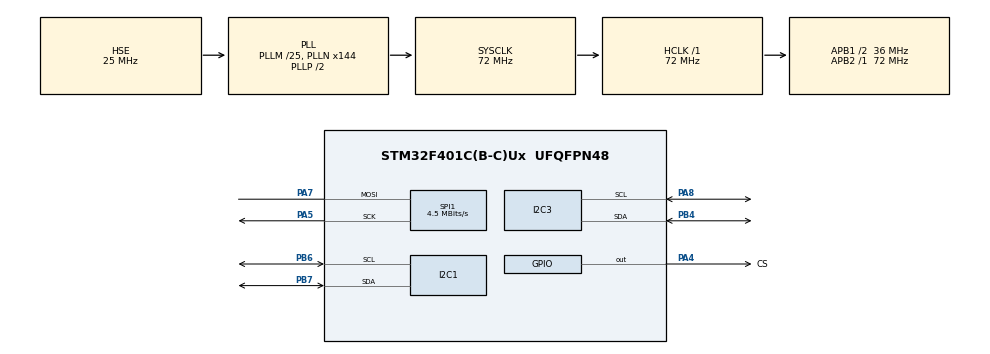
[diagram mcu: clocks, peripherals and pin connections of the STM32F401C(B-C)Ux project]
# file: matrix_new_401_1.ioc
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Mcu.Family=STM32F4
Mcu.Name=STM32F401C(B-C)Ux
Mcu.Package=UFQFPN48
NVIC.PriorityGroup=NVIC_PRIORITYGROUP_4
NVIC.TIM2_IRQn=true\:0\:0\:false\:false\:true\:true\:true\:true
PA13.Mode=Serial_Wire
PA13.Signal=SYS_JTMS-SWDIO
PA14.Mode=Serial_Wire
PA14.Signal=SYS_JTCK-SWCLK
PA4.GPIO_Label=CS
PA4.GPIO_Speed=GPIO_SPEED_FREQ_MEDIUM
PA4.Signal=GPIO_Output
PA5.GPIO_Speed=GPIO_SPEED_FREQ_LOW
PA5.Mode=Simplex_Bidirectional_Master
PA5.Signal=SPI1_SCK
PA7.GPIO_Speed=GPIO_SPEED_FREQ_LOW
PA7.Mode=Simplex_Bidirectional_Master
PA7.Signal=SPI1_MOSI
PA8.Mode=I2C
PA8.Signal=I2C3_SCL
PB4.Mode=I2C
PB4.Signal=I2C3_SDA
PB6.Mode=I2C
PB6.Signal=I2C1_SCL
PB7.Mode=I2C
PB7.Signal=I2C1_SDA
PH0\ -\ OSC_IN.Mode=HSE-External-Oscillator
PH0\ -\ OSC_IN.Signal=RCC_OSC_IN
PH1\ -\ OSC_OUT.Mode=HSE-External-Oscillator
PH1\ -\ OSC_OUT.Signal=RCC_OSC_OUT
ProjectManager.HeapSize=0x200
ProjectManager.StackSize=0x400
ProjectManager.TargetToolchain=STM32CubeIDE
RCC.48MHZClocksFreq_Value=36000000
RCC.AHBFreq_Value=72000000
RCC.APB1CLKDivider=RCC_HCLK_DIV2
RCC.APB1Freq_Value=36000000
RCC.APB1TimFreq_Value=72000000
RCC.APB2Freq_Value=72000000
RCC.APB2TimFreq_Value=72000000
RCC.CortexFreq_Value=72000000
RCC.HCLKFreq_Value=72000000
RCC.HSE_VALUE=25000000
RCC.HSI_VALUE=16000000
RCC.LSE_VALUE=32768
RCC.PLLM=25
RCC.PLLN=144
RCC.PLLSourceVirtual=RCC_PLLSOURCE_HSE
RCC.SYSCLKFreq_VALUE=72000000
RCC.SYSCLKSource=RCC_SYSCLKSOURCE_PLLCLK
RCC.VCOOutputFreq_Value=144000000
SPI1.BaudRatePrescaler=SPI_BAUDRATEPRESCALER_16
SPI1.CalculateBaudRate=4.5 MBits/s
SPI1.DataSize=SPI_DATASIZE_8BIT
SPI1.Direction=SPI_DIRECTION_1LINE
SPI1.Mode=SPI_MODE_MASTER
SPI1.VirtualType=VM_MASTER
TIM2.Period=100
TIM2.Prescaler=15999
VP_TIM2_VS_ClockSourceINT.Mode=Internal
board=custom

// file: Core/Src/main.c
/* USER CODE BEGIN Header */
/**
 ******************************************************************************
 * @file           : main.c
 * @brief          : Main program body
 ******************************************************************************
 * @attention
 *
 * Copyright (c) 2025 STMicroelectronics.
 * All rights reserved.
 *
 * This software is licensed under terms that can be found in the LICENSE file
 * in the root directory of this software component.
 * If no LICENSE file comes with this software, it is provided AS-IS.
 *
 ******************************************************************************
 */
/* USER CODE END Header */
#include "main.h"

/* USER CODE BEGIN Includes */
#include <stdbool.h>
/* USER CODE END Includes */

I2C_HandleTypeDef hi2c1;
I2C_HandleTypeDef hi2c3;

SPI_HandleTypeDef hspi1;

TIM_HandleTypeDef htim2;

/* USER CODE BEGIN PV */
#define cs_reset() HAL_GPIO_WritePin(CS_GPIO_Port, CS_Pin, GPIO_PIN_RESET)
#define cs_set() HAL_GPIO_WritePin(CS_GPIO_Port, CS_Pin, GPIO_PIN_SET)
#define cs_strob() cs_reset();cs_set()

#define data_reset() HAL_GPIO_WritePin(GPIOA, GPIO_PIN_4, GPIO_PIN_RESET)
#define data_set() HAL_GPIO_WritePin(GPIOA, GPIO_PIN_4, GPIO_PIN_SET)
#define data_strob() data_reset();data_set()

#define clock_reset() HAL_GPIO_WritePin(GPIOA, GPIO_PIN_2, GPIO_PIN_RESET)
#define clock_set() HAL_GPIO_WritePin(GPIOA, GPIO_PIN_2, GPIO_PIN_SET)
#define clock_strob() clock_reset();clock_set()
/* USER CODE END PV */

void SystemClock_Config(void);
static void MX_GPIO_Init(void);
static void MX_SPI1_Init(void);
static void MX_TIM2_Init(void);
static void MX_I2C1_Init(void);
static void MX_I2C3_Init(void);

/* USER CODE BEGIN 0 */

int clock = 0;

const uint8_t char_data[][8] = { { 0x1c, 0x22, 0x22, 0x22, 0x22, 0x22, 0x22,
		0x1c },  // 0
		{ 0x08, 0x0c, 0x0a, 0x08, 0x08, 0x08, 0x08, 0x3e },  // 1
		{ 0x1c, 0x22, 0x20, 0x10, 0x08, 0x04, 0x02, 0x3e },  // 2
		{ 0x1c, 0x22, 0x20, 0x1c, 0x20, 0x20, 0x22, 0x1c },  // 3
		{ 0x20, 0x30, 0x28, 0x24, 0x22, 0x3e, 0x20, 0x20 },  // 4
		{ 0x3e, 0x02, 0x02, 0x1e, 0x20, 0x20, 0x22, 0x1c },  // 5
		{ 0x1c, 0x22, 0x02, 0x1e, 0x22, 0x22, 0x22, 0x1c },  // 6
		{ 0x3e, 0x20, 0x20, 0x10, 0x08, 0x04, 0x04, 0x04 },  // 7
		{ 0x1c, 0x22, 0x22, 0x1c, 0x22, 0x22, 0x22, 0x1c },  // 8
		{ 0x1c, 0x22, 0x22, 0x22, 0x3c, 0x20, 0x22, 0x1c },  // 9
		};

int disp_1 = 0;
int disp_2 = 0;
int disp_3 = 0;
int disp_4 = 0;
int disp_5 = 0;
int disp_6 = 0;
int disp_7 = 0;
int disp_8 = 0;

//typedef enum {
//    REG_NO_OP           = 0x00,
//    REG_DIGIT_0         = 0x01,
//    REG_DIGIT_1         = 0x02,
//    REG_DIGIT_2         = 0x03,
//    REG_DIGIT_3         = 0x04,
//    REG_DIGIT_4         = 0x05,
//    REG_DIGIT_5         = 0x06,
//    REG_DIGIT_6         = 0x07,
//    REG_DIGIT_7         = 0x08,
//    REG_DECODE_MODE     = 0x09,
//    REG_INTENSITY       = 0x0A,
//    REG_SCAN_LIMIT      = 0x0B,
//    REG_SHUTDOWN        = 0x0C,
//    REG_DISPLAY_TEST    = 0x0F,
//} MAX7219_REGISTERS;

//void write_reg(uint8_t reg, uint8_t value) {
//	uint8_t tx_data[2] = { reg, value };
//	cs_reset();
//	HAL_SPI_Transmit(&hspi1, tx_data, sizeof(tx_data), HAL_MAX_DELAY);
//	cs_set();
//}

//void write_reg(uint8_t reg, uint8_t value) {
//	uint8_t tx_data[2] = { reg, value };
//	cs_reset();
//	if (HAL_SPI_GetState(&hspi1) == HAL_SPI_STATE_READY) {
//		if (HAL_SPI_Transmit(&hspi1, tx_data, sizeof(tx_data), HAL_MAX_DELAY)
//				!= HAL_OK) {
////			clock_set();
////			data_strob();
////			clock_strob();
//		}
//	}
//	cs_set();
//}

void write_reg(uint8_t reg, uint8_t value) {
	uint8_t tx_data[2] = { reg, value };
	cs_reset();
	//1
	HAL_SPI_Transmit(&hspi1, tx_data, sizeof(tx_data), HAL_MAX_DELAY);
	while (HAL_SPI_GetState(&hspi1) != HAL_SPI_STATE_READY)
		;
	//2
	HAL_SPI_Transmit(&hspi1, tx_data, sizeof(tx_data), HAL_MAX_DELAY);
	while (HAL_SPI_GetState(&hspi1) != HAL_SPI_STATE_READY)
		;
	//3
	HAL_SPI_Transmit(&hspi1, tx_data, sizeof(tx_data), HAL_MAX_DELAY);
	while (HAL_SPI_GetState(&hspi1) != HAL_SPI_STATE_READY)
		;
	//4
	HAL_SPI_Transmit(&hspi1, tx_data, sizeof(tx_data), HAL_MAX_DELAY);
	while (HAL_SPI_GetState(&hspi1) != HAL_SPI_STATE_READY)
		;
	//5
	HAL_SPI_Transmit(&hspi1, tx_data, sizeof(tx_data), HAL_MAX_DELAY);
	while (HAL_SPI_GetState(&hspi1) != HAL_SPI_STATE_READY)
		;
	//6
	HAL_SPI_Transmit(&hspi1, tx_data, sizeof(tx_data), HAL_MAX_DELAY);
	while (HAL_SPI_GetState(&hspi1) != HAL_SPI_STATE_READY)
		;
	//7
	HAL_SPI_Transmit(&hspi1, tx_data, sizeof(tx_data), HAL_MAX_DELAY);
	while (HAL_SPI_GetState(&hspi1) != HAL_SPI_STATE_READY)
		;
	//8
	HAL_SPI_Transmit(&hspi1, tx_data, sizeof(tx_data), HAL_MAX_DELAY);
	while (HAL_SPI_GetState(&hspi1) != HAL_SPI_STATE_READY)
		;
	cs_set();
}

void write_disp(int i) {
	cs_reset();
	//1
	uint8_t tx_disp_1[2] = { i, char_data[disp_1][8 - i] };
	HAL_SPI_Transmit(&hspi1, tx_disp_1, sizeof(tx_disp_1), HAL_MAX_DELAY);
	while (HAL_SPI_GetState(&hspi1) != HAL_SPI_STATE_READY)
		;
	//2
	uint8_t tx_disp_2[2] = { i, char_data[disp_2][8 - i] };
	HAL_SPI_Transmit(&hspi1, tx_disp_2, sizeof(tx_disp_2), HAL_MAX_DELAY);
	while (HAL_SPI_GetState(&hspi1) != HAL_SPI_STATE_READY)
		;
	//3
	uint8_t tx_disp_3[2] = { i, char_data[disp_3][8 - i] };
	HAL_SPI_Transmit(&hspi1, tx_disp_3, sizeof(tx_disp_3), HAL_MAX_DELAY);
	while (HAL_SPI_GetState(&hspi1) != HAL_SPI_STATE_READY)
		;
	//4
	uint8_t tx_disp_4[2] = { i, char_data[disp_4][8 - i] };
	HAL_SPI_Transmit(&hspi1, tx_disp_4, sizeof(tx_disp_4), HAL_MAX_DELAY);
	while (HAL_SPI_GetState(&hspi1) != HAL_SPI_STATE_READY)
		;
	//5
	uint8_t tx_disp_5[2] = { i, char_data[disp_5][8 - i] };
	HAL_SPI_Transmit(&hspi1, tx_disp_5, sizeof(tx_disp_5), HAL_MAX_DELAY);
	while (HAL_SPI_GetState(&hspi1) != HAL_SPI_STATE_READY)
		;
	//6
	uint8_t tx_disp_6[2] = { i, char_data[disp_6][8 - i] };
	HAL_SPI_Transmit(&hspi1, tx_disp_6, sizeof(tx_disp_6), HAL_MAX_DELAY);
	while (HAL_SPI_GetState(&hspi1) != HAL_SPI_STATE_READY)
		;
	//7
	uint8_t tx_disp_7[2] = { i, char_data[disp_7][8 - i] };
	HAL_SPI_Transmit(&hspi1, tx_disp_7, sizeof(tx_disp_7), HAL_MAX_DELAY);
	while (HAL_SPI_GetState(&hspi1) != HAL_SPI_STATE_READY)
		;
	//8
	uint8_t tx_disp_8[2] = { i, char_data[disp_8][8 - i] };
	HAL_SPI_Transmit(&hspi1, tx_disp_8, sizeof(tx_disp_8), HAL_MAX_DELAY);
	while (HAL_SPI_GetState(&hspi1) != HAL_SPI_STATE_READY)
		;
	cs_set();
}

void matrix_init() {

	write_reg(0x09, 0x00);       //  no decoding
	write_reg(0x0A, 0x05);       //  brightness intensity
	write_reg(0x0B, 0x07);       //  scan limit = 8 LEDs
	write_reg(0x0C, 0x01);       //  power down =0，normal mode = 1
	write_reg(0x0F, 0x00);       //  no test display

}

void matrix_data(int num) {
	for (int i = 1; i <= 8; i++) {
		write_reg(i, char_data[num][8 - i]);
		HAL_Delay(50);
	}
}

void display_all_clear() {
	for (int i = 1; i <= 8; i++) {
		write_reg(i, 0x00);
	}
}

int lenNumLL(int value) {
	int len = 0;

	do {
		value /= 10;
		len++;
	} while (value);

	return len;
}

void update_data_disp() {

	int len = lenNumLL(clock);

	switch (len) {

	case 1: {
		disp_1 = clock;
		break;
	}

	case 2: {
		disp_1 = clock % 10;
		disp_2 = (clock - (clock % 10)) / 10;
		break;
	}

	case 3: {
		disp_1 = clock % 10;
		disp_2 = clock / 10 % 10;
		disp_3 = (clock - (clock % 100)) / 100;
		break;
	}

	case 4: {
		disp_1 = clock % 10;
		disp_2 = clock / 10 % 10;
		disp_3 = clock / 100 % 10;
		disp_4 = (clock - (clock % 1000)) / 1000;
		break;
	}

	case 5: {
		disp_1 = clock % 10;
		disp_2 = clock / 10 % 10;
		disp_3 = clock / 100 % 10;
		disp_4 = clock / 1000 % 10;
		disp_5 = (clock - (clock % 10000)) / 10000;
		break;
	}

	case 6: {
		disp_1 = clock % 10;
		disp_2 = clock / 10 % 10;
		disp_3 = clock / 100 % 10;
		disp_4 = clock / 1000 % 10;
		disp_5 = clock / 10000 % 10;
		disp_6 = (clock - (clock % 100000)) / 100000;
		break;
	}

	case 7: {
		disp_1 = clock % 10;
		disp_2 = clock / 10 % 10;
		disp_3 = clock / 100 % 10;
		disp_4 = clock / 1000 % 10;
		disp_5 = clock / 10000 % 10;
		disp_6 = clock / 100000 % 10;
		disp_7 = (clock - (clock % 1000000)) / 1000000;
		break;
	}

	case 8: {
		disp_1 = clock % 10;
		disp_2 = clock / 10 % 10;
		disp_3 = clock / 100 % 10;
		disp_4 = clock / 1000 % 10;
		disp_5 = clock / 10000 % 10;
		disp_6 = clock / 100000 % 10;
		disp_7 = clock / 1000000 % 10;
		disp_8 = (clock - (clock % 10000000)) / 10000000;
		break;
	}

	case 9: {
		clock = 0;
		break;
	}

	}

//	disp_1 = clock;
//	disp_2 = clock;
//	disp_3 = clock;
//	disp_4 = clock;
//	disp_5 = clock;
//	disp_6 = clock;
//	disp_7 = clock;
//	disp_8 = clock;
}

void HAL_TIM_PeriodElapsedCallback(TIM_HandleTypeDef *htim) {
	if (htim->Instance == TIM2) {
		update_data_disp();
		clock++;
		if (clock > 99999999) {
			clock = 0;
		}
	}
}

void update_disp() {
	for (int i = 1; i <= 8; i++) {
		write_disp(i);
	}
}

//void display_number(uint8_t digit, uint8_t number) {
//	uint8_t data[2];
//	data[0] = digit;
//	data[1] = number;
//	cs_enable();
//	spi1_transmit(data, 2);
//	cs_disable();
//}

/* USER CODE END 0 */

int main(void)
{

  /* MCU Configuration--------------------------------------------------------*/

  /* Reset of all peripherals, Initializes the Flash interface and the Systick. */
  HAL_Init();

  /* Configure the system clock */
  SystemClock_Config();

  /* Initialize all configured peripherals */
  MX_GPIO_Init();
  MX_SPI1_Init();
  MX_TIM2_Init();
  MX_I2C1_Init();
  MX_I2C3_Init();
  /* USER CODE BEGIN 2 */
	HAL_TIM_Base_Start_IT(&htim2);
	matrix_init();
	HAL_Delay(10);
	display_all_clear();
  /* USER CODE END 2 */

  /* Infinite loop */
  /* USER CODE BEGIN WHILE */
	while (1) {

//		for (int i = 0; i < 10; i++) {
//			matrix_data(i);
//			HAL_Delay(1000);
//			display_all_clear();
////			HAL_Delay(500);
//		}

		update_disp();

    /* USER CODE END WHILE */

	}
}

void SystemClock_Config(void)
{
  RCC_OscInitTypeDef RCC_OscInitStruct = {0};
  RCC_ClkInitTypeDef RCC_ClkInitStruct = {0};

  /** Configure the main internal regulator output voltage
  */
  __HAL_RCC_PWR_CLK_ENABLE();
  __HAL_PWR_VOLTAGESCALING_CONFIG(PWR_REGULATOR_VOLTAGE_SCALE2);

  /** Initializes the RCC Oscillators according to the specified parameters
  * in the RCC_OscInitTypeDef structure.
  */
  RCC_OscInitStruct.OscillatorType = RCC_OSCILLATORTYPE_HSE;
  RCC_OscInitStruct.HSEState = RCC_HSE_ON;
  RCC_OscInitStruct.PLL.PLLState = RCC_PLL_ON;
  RCC_OscInitStruct.PLL.PLLSource = RCC_PLLSOURCE_HSE;
  RCC_OscInitStruct.PLL.PLLM = 25;
  RCC_OscInitStruct.PLL.PLLN = 144;
  RCC_OscInitStruct.PLL.PLLP = RCC_PLLP_DIV2;
  RCC_OscInitStruct.PLL.PLLQ = 4;
  if (HAL_RCC_OscConfig(&RCC_OscInitStruct) != HAL_OK)
  {
    Error_Handler();
  }

  /** Initializes the CPU, AHB and APB buses clocks
  */
  RCC_ClkInitStruct.ClockType = RCC_CLOCKTYPE_HCLK|RCC_CLOCKTYPE_SYSCLK
                              |RCC_CLOCKTYPE_PCLK1|RCC_CLOCKTYPE_PCLK2;
  RCC_ClkInitStruct.SYSCLKSource = RCC_SYSCLKSOURCE_PLLCLK;
  RCC_ClkInitStruct.AHBCLKDivider = RCC_SYSCLK_DIV1;
  RCC_ClkInitStruct.APB1CLKDivider = RCC_HCLK_DIV2;
  RCC_ClkInitStruct.APB2CLKDivider = RCC_HCLK_DIV1;

  if (HAL_RCC_ClockConfig(&RCC_ClkInitStruct, FLASH_LATENCY_2) != HAL_OK)
  {
    Error_Handler();
  }
}

static void MX_I2C1_Init(void)
{

  hi2c1.Instance = I2C1;
  hi2c1.Init.ClockSpeed = 100000;
  hi2c1.Init.DutyCycle = I2C_DUTYCYCLE_2;
  hi2c1.Init.OwnAddress1 = 0;
  hi2c1.Init.AddressingMode = I2C_ADDRESSINGMODE_7BIT;
  hi2c1.Init.DualAddressMode = I2C_DUALADDRESS_DISABLE;
  hi2c1.Init.OwnAddress2 = 0;
  hi2c1.Init.GeneralCallMode = I2C_GENERALCALL_DISABLE;
  hi2c1.Init.NoStretchMode = I2C_NOSTRETCH_DISABLE;
  if (HAL_I2C_Init(&hi2c1) != HAL_OK)
  {
    Error_Handler();
  }

}

static void MX_I2C3_Init(void)
{

  hi2c3.Instance = I2C3;
  hi2c3.Init.ClockSpeed = 100000;
  hi2c3.Init.DutyCycle = I2C_DUTYCYCLE_2;
  hi2c3.Init.OwnAddress1 = 0;
  hi2c3.Init.AddressingMode = I2C_ADDRESSINGMODE_7BIT;
  hi2c3.Init.DualAddressMode = I2C_DUALADDRESS_DISABLE;
  hi2c3.Init.OwnAddress2 = 0;
  hi2c3.Init.GeneralCallMode = I2C_GENERALCALL_DISABLE;
  hi2c3.Init.NoStretchMode = I2C_NOSTRETCH_DISABLE;
  if (HAL_I2C_Init(&hi2c3) != HAL_OK)
  {
    Error_Handler();
  }

}

static void MX_SPI1_Init(void)
{

  /* SPI1 parameter configuration*/
  hspi1.Instance = SPI1;
  hspi1.Init.Mode = SPI_MODE_MASTER;
  hspi1.Init.Direction = SPI_DIRECTION_1LINE;
  hspi1.Init.DataSize = SPI_DATASIZE_8BIT;
  hspi1.Init.CLKPolarity = SPI_POLARITY_LOW;
  hspi1.Init.CLKPhase = SPI_PHASE_1EDGE;
  hspi1.Init.NSS = SPI_NSS_SOFT;
  hspi1.Init.BaudRatePrescaler = SPI_BAUDRATEPRESCALER_16;
  hspi1.Init.FirstBit = SPI_FIRSTBIT_MSB;
  hspi1.Init.TIMode = SPI_TIMODE_DISABLE;
  hspi1.Init.CRCCalculation = SPI_CRCCALCULATION_DISABLE;
  hspi1.Init.CRCPolynomial = 10;
  if (HAL_SPI_Init(&hspi1) != HAL_OK)
  {
    Error_Handler();
  }

}

static void MX_TIM2_Init(void)
{

  TIM_ClockConfigTypeDef sClockSourceConfig = {0};
  TIM_MasterConfigTypeDef sMasterConfig = {0};

  htim2.Instance = TIM2;
  htim2.Init.Prescaler = 15999;
  htim2.Init.CounterMode = TIM_COUNTERMODE_UP;
  htim2.Init.Period = 100;
  htim2.Init.ClockDivision = TIM_CLOCKDIVISION_DIV1;
  htim2.Init.AutoReloadPreload = TIM_AUTORELOAD_PRELOAD_DISABLE;
  if (HAL_TIM_Base_Init(&htim2) != HAL_OK)
  {
    Error_Handler();
  }
  sClockSourceConfig.ClockSource = TIM_CLOCKSOURCE_INTERNAL;
  if (HAL_TIM_ConfigClockSource(&htim2, &sClockSourceConfig) != HAL_OK)
  {
    Error_Handler();
  }
  sMasterConfig.MasterOutputTrigger = TIM_TRGO_RESET;
  sMasterConfig.MasterSlaveMode = TIM_MASTERSLAVEMODE_DISABLE;
  if (HAL_TIMEx_MasterConfigSynchronization(&htim2, &sMasterConfig) != HAL_OK)
  {
    Error_Handler();
  }

}

static void MX_GPIO_Init(void)
{
  GPIO_InitTypeDef GPIO_InitStruct = {0};

  /* GPIO Ports Clock Enable */
  __HAL_RCC_GPIOH_CLK_ENABLE();
  __HAL_RCC_GPIOA_CLK_ENABLE();
  __HAL_RCC_GPIOB_CLK_ENABLE();

  /*Configure GPIO pin Output Level */
  HAL_GPIO_WritePin(CS_GPIO_Port, CS_Pin, GPIO_PIN_RESET);

  /*Configure GPIO pin : CS_Pin */
  GPIO_InitStruct.Pin = CS_Pin;
  GPIO_InitStruct.Mode = GPIO_MODE_OUTPUT_PP;
  GPIO_InitStruct.Pull = GPIO_NOPULL;
  GPIO_InitStruct.Speed = GPIO_SPEED_FREQ_MEDIUM;
  HAL_GPIO_Init(CS_GPIO_Port, &GPIO_InitStruct);

}

void Error_Handler(void)
{
	__disable_irq();
	while (1) {
	}
}
